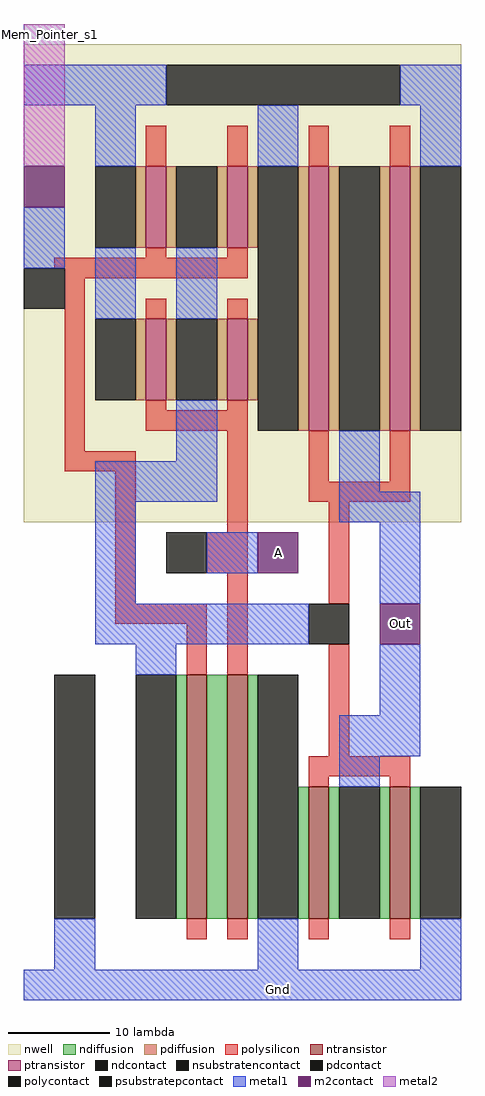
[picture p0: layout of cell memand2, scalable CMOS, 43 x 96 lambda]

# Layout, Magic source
magic
tech scmos
<< nwell >>
rect -1 50 42 97
<< polysilicon >>
rect 11 85 13 89
rect 19 85 21 89
rect 27 85 29 89
rect 35 85 37 89
rect 11 76 13 77
rect 19 76 21 77
rect 2 75 21 76
rect 3 74 21 75
rect 3 57 5 74
rect 11 70 13 72
rect 19 70 21 72
rect 11 61 13 62
rect 19 61 21 62
rect 11 59 21 61
rect 3 55 10 57
rect 8 42 10 55
rect 19 49 21 59
rect 27 54 29 59
rect 35 54 37 59
rect 27 52 37 54
rect 17 45 21 49
rect 8 40 17 42
rect 15 35 17 40
rect 19 35 21 45
rect 29 42 31 52
rect 29 27 31 38
rect 27 25 37 27
rect 27 24 29 25
rect 35 24 37 25
rect 15 9 17 11
rect 19 9 21 11
rect 27 9 29 11
rect 35 9 37 11
<< ndiffusion >>
rect 14 11 15 35
rect 17 11 19 35
rect 21 11 22 35
rect 26 11 27 24
rect 29 11 30 24
rect 34 11 35 24
rect 37 11 38 24
<< pdiffusion >>
rect 10 77 11 85
rect 13 77 14 85
rect 18 77 19 85
rect 21 77 22 85
rect 10 62 11 70
rect 13 62 14 70
rect 18 62 19 70
rect 21 62 22 70
rect 26 59 27 85
rect 29 59 30 85
rect 34 59 35 85
rect 37 59 38 85
<< metal1 >>
rect -1 91 13 95
rect 36 91 42 95
rect 6 85 10 91
rect 22 85 26 91
rect 38 85 42 91
rect -1 75 3 81
rect 6 70 10 77
rect 14 70 18 77
rect 14 56 18 62
rect 6 52 18 56
rect 30 53 34 59
rect 6 42 10 52
rect 30 50 38 53
rect 17 45 22 49
rect 34 42 38 50
rect 6 38 27 42
rect 10 35 14 38
rect 34 31 38 38
rect 30 27 38 31
rect 30 24 34 27
rect 2 6 6 11
rect 22 6 26 11
rect 38 6 42 11
rect -1 3 42 6
<< metal2 >>
rect -1 85 3 99
<< ntransistor >>
rect 15 11 17 35
rect 19 11 21 35
rect 27 11 29 24
rect 35 11 37 24
<< ptransistor >>
rect 11 77 13 85
rect 19 77 21 85
rect 11 62 13 70
rect 19 62 21 70
rect 27 59 29 85
rect 35 59 37 85
<< polycontact >>
rect -1 71 3 75
rect 13 45 17 49
rect 27 38 31 42
<< ndcontact >>
rect 10 11 14 35
rect 22 11 26 35
rect 30 11 34 24
rect 38 11 42 24
<< pdcontact >>
rect 6 77 10 85
rect 14 77 18 85
rect 6 62 10 70
rect 14 62 18 70
rect 22 59 26 85
rect 30 59 34 85
rect 38 59 42 85
<< m2contact >>
rect -1 81 3 85
rect 22 45 26 49
rect 34 38 38 42
<< psubstratepcontact >>
rect 2 11 6 35
<< nsubstratencontact >>
rect 13 91 36 95
<< labels >>
rlabel metal1 24 4 24 4 1 Gnd
rlabel metal2 1 98 1 98 4 Mem_Pointer_s1
rlabel m2contact 36 40 36 40 1 Out
rlabel m2contact 24 47 24 47 1 A
<< end >>
